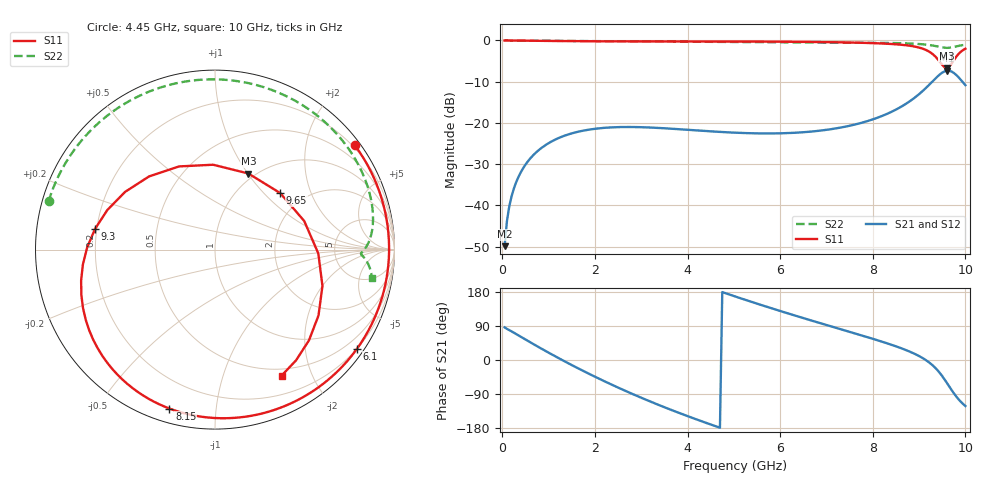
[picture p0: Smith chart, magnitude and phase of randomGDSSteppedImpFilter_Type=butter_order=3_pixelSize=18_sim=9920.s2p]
! freq	dB(S11)	phase(S11)	dB(S12)	phase(S12)
!  dB(S21)	phase(S21)	dB(S22)	phase(S22)
!S-par simulation data
#  GHz  S  DB  R 50
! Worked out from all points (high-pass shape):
!   200 points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, 50 MHz to 10 GHz, reference 50 ohm
!   highest |S21| = -7.35 dB at 9.6 GHz (marker M1); lowest = -49.9 dB at 50 MHz (marker M2)
!   |S21| within 3 dB of the highest: 9.255 GHz to 9.962 GHz (707.6 MHz wide, 7.36 % of centre)
!   lowest |S11| = -6.7 dB at 9.6 GHz (marker M3), VSWR 2.72, Z = 46.7 + j50.3 ohm
!   |S11| at or under -10 dB: nowhere
!   |S22| runs from -1.8 to 0.0 dB; largest |S21 - S12| = 0
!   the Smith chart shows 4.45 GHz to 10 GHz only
!   S11 on the Smith chart (normalised r, x): 4.45 GHz: 0.14, +3.01; 6.1 GHz: 0.20, -3.16; 8.15 GHz: 0.06, -0.75; 9.3 GHz: 0.19, +0.08; 9.65 GHz: 1.52, +1.25; 10 GHz: 0.41, -1.58
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0.05  -0.00 -4.3  -49.91 86.1  -49.91 86.1  -0.00 -3.0
0.15  -0.02 -12.7  -40.29 78.9  -40.29 78.9  -0.01 -9.0
0.3  -0.04 -25.3  -34.38 68.3  -34.38 68.3  -0.03 -18.0
0.95  -0.11 -79.3  -25.26 22.7  -25.26 22.7  -0.08 -55.1
1.35  -0.15 -111.8  -23.08 -3.8  -23.08 -3.8  -0.12 -76.1
1.75  -0.19 -143.6  -21.88 -29.0  -21.88 -29.0  -0.15 -95.5
2.45  -0.22 163.0  -21.04 -70.0  -21.04 -70.0  -0.19 -125.8
2.95  -0.24 127.3  -21.03 -97.0  -21.03 -97.0  -0.22 -145.1
3.4  -0.24 97.3  -21.24 -119.7  -21.24 -119.7  -0.24 -161.2
4.45  -0.25 36.7  -22.02 -168.0  -22.02 -168.0  -0.31 163.8
5.05  -0.26 7.7  -22.39 166.8  -22.39 166.8  -0.34 144.7
6.1  -0.31 -35.0  -22.50 125.6  -22.50 125.6  -0.41 111.3
6.7  -0.37 -56.2  -22.08 103.2  -22.08 103.2  -0.45 91.8
8.15  -0.71 -106.0  -18.54 50.3  -18.54 50.3  -0.58 43.5
8.35  -0.82 -114.0  -17.60 42.4  -17.60 42.4  -0.61 36.6
8.9  -1.47 -143.6  -13.93 16.5  -13.93 16.5  -0.79 17.6
9.3  -3.37 170.2  -9.83 -14.9  -9.83 -14.9  -1.25 4.1
9.5  -5.93 113.5  -7.81 -42.5  -7.81 -42.5  -1.68 -0.6
9.6  -6.69 66.3  -7.35 -60.3  -7.35 -60.3  -1.80 -1.6
9.65  -6.36 40.9  -7.36 -69.6  -7.36 -69.6  -1.77 -2.0
9.8  -3.99 -18.7  -8.34 -95.9  -8.34 -95.9  -1.46 -4.2
10  -2.00 -62.2  -10.85 -121.5  -10.85 -121.5  -1.03 -10.2
